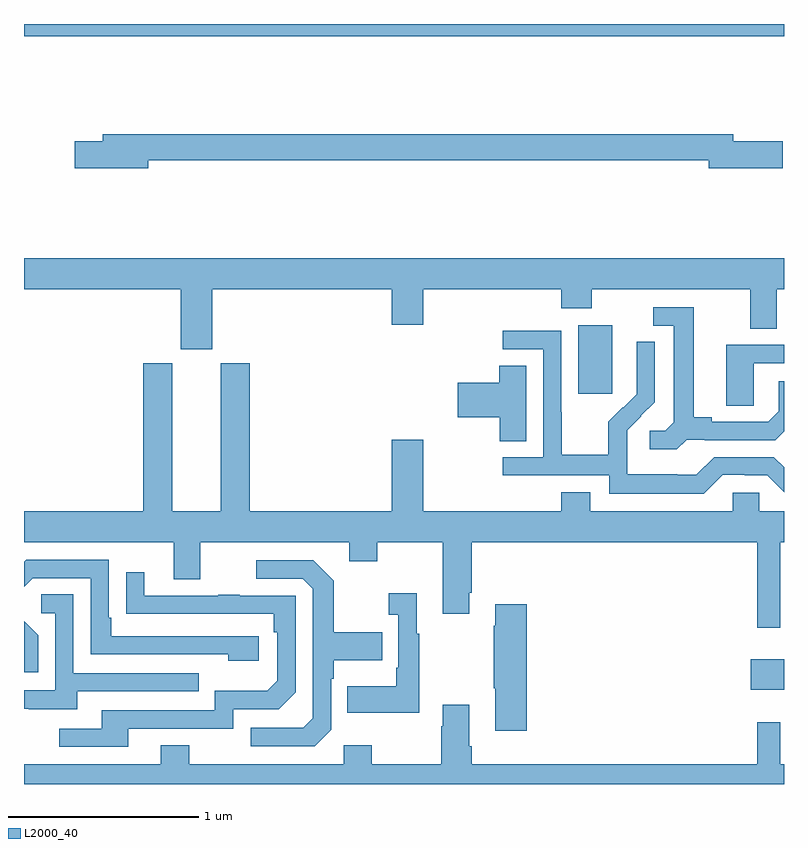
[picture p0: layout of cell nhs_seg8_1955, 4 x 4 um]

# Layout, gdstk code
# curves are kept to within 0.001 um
import gdstk
lib = gdstk.Library(unit=1e-6, precision=1e-09)
def R(c, l, rs):  # rectangles x0, y0, x1, y1
    for r in rs: c.add(gdstk.rectangle(r[:2], r[2:], *l))
def P(c, l, *ps):  # polygons
    for p in ps: c.add(gdstk.Polygon(p, *l))
L2000_40 = (2000, 40)

nhs_seg8_1955 = lib.new_cell('nhs_seg8_1955')
R(nhs_seg8_1955, L2000_40, [(238.826,1110.395,239,1110.556), (237.917,1111.953,238.096,1112.314), (235,1113.836,239,1113.9)])
P(nhs_seg8_1955, L2000_40, [(235.654,1113.184),(238.604,1113.184),(238.604,1113.142),(238.993,1113.142),(238.993,1113.284),(238.732,1113.284),(238.732,1113.32),(235.415,1113.32),(235.415,1113.284),(235.266,1113.284),(235.266,1113.142),(235.654,1113.142)],
  [(235.99,1112.504),(236.936,1112.504),(236.936,1112.316),(237.1,1112.316),(237.1,1112.504),(237.827,1112.504),(237.827,1112.405),(237.987,1112.405),(237.987,1112.504),(238.823,1112.504),(238.823,1112.296),(238.963,1112.296),(238.963,1112.504),(239,1112.504),(239,1112.668),(235,1112.668),(235,1112.504),(235.826,1112.504),(235.826,1112.187),(235.99,1112.187)],
  [(238.488,1111.713),(238.582,1111.713),(238.582,1111.71),(238.954,1111.71),(239,1111.756),(239,1112.02),(238.973,1112.02),(238.973,1111.863),(238.916,1111.806),(238.621,1111.806),(238.621,1111.829),(238.525,1111.829),(238.525,1112.409),(238.311,1112.409),(238.311,1112.313),(238.421,1112.313),(238.421,1111.805),(238.374,1111.758),(238.293,1111.758),(238.293,1111.661),(238.436,1111.661)],
  [(238.677,1111.527),(238.793,1111.527),(238.793,1111.524),(238.911,1111.524),(239,1111.435),(239,1111.567),(238.947,1111.62),(238.632,1111.62),(238.539,1111.527),(238.439,1111.527),(238.439,1111.531),(238.176,1111.531),(238.176,1111.665),(238.174,1111.665),(238.174,1111.762),(238.32,1111.91),(238.32,1112.228),(238.224,1112.228),(238.224,1112.074),(238.226,1112.074),(238.226,1111.952),(238.155,1111.881),(238.152,1111.884),(238.075,1111.807),(238.075,1111.633),(237.831,1111.633),(237.831,1111.856),(237.828,1111.856),(237.828,1112.286),(237.519,1112.286),(237.519,1112.187),(237.732,1112.187),(237.732,1111.62),(237.519,1111.62),(237.519,1111.524),(238.08,1111.524),(238.08,1111.427),(238.577,1111.427)],
  [(238.842,1112.115),(239,1112.115),(239,1112.211),(238.697,1112.211),(238.697,1111.891),(238.842,1111.891)],
  [(238.86,1110.723),(238.981,1110.723),(238.981,1111.172),(239,1111.172),(239,1111.336),(238.869,1111.336),(238.869,1111.434),(238.731,1111.434),(238.731,1111.336),(237.979,1111.336),(237.979,1111.435),(237.827,1111.435),(237.827,1111.336),(237.1,1111.336),(237.1,1111.711),(236.936,1111.711),(236.936,1111.336),(236.189,1111.336),(236.189,1112.115),(236.036,1112.115),(236.036,1111.336),(235.78,1111.336),(235.78,1112.115),(235.628,1112.115),(235.628,1111.336),(235,1111.336),(235,1111.172),(235.787,1111.172),(235.787,1110.978),(235.927,1110.978),(235.927,1111.172),(236.711,1111.172),(236.711,1111.073),(236.859,1111.073),(236.859,1111.172),(237.203,1111.172),(237.203,1110.795),(237.343,1110.795),(237.343,1110.907),(237.356,1110.907),(237.356,1111.172),(238.86,1111.172)],
  [(237.643,1112.102),(237.5,1112.102),(237.5,1112.012),(237.282,1112.012),(237.282,1111.829),(237.505,1111.829),(237.505,1111.705),(237.643,1111.705)],
  [(236.236,1110.678),(235.459,1110.678),(235.459,1110.775),(235.446,1110.775),(235.446,1111.08),(235.011,1111.08),(235,1111.069),(235,1110.937),(235.047,1110.984),(235.35,1110.984),(235.35,1110.582),(236.075,1110.582),(236.075,1110.548),(236.236,1110.548)],
  [(236.616,1110.186),(236.616,1110.455),(236.629,1110.455),(236.629,1110.551),(236.885,1110.551),(236.885,1110.699),(236.629,1110.699),(236.629,1110.971),(236.523,1111.077),(236.223,1111.077),(236.223,1110.981),(236.466,1110.981),(236.52,1110.927),(236.52,1110.246),(236.469,1110.195),(236.193,1110.195),(236.193,1110.099),(236.529,1110.099)],
  [(235.549,1110.192),(236.1,1110.192),(236.1,1110.294),(236.34,1110.294),(236.43,1110.384),(236.43,1110.891),(236.135,1110.891),(236.135,1110.896),(236.023,1110.896),(236.023,1110.891),(235.633,1110.891),(235.633,1111.015),(235.537,1111.015),(235.537,1110.796),(236.314,1110.795),(236.314,1110.698),(236.334,1110.698),(236.334,1110.444),(236.281,1110.391),(236.004,1110.391),(236.004,1110.288),(235.409,1110.288),(235.409,1110.192),(235.185,1110.192),(235.185,1110.096),(235.549,1110.096)],
  [(237.079,1110.691),(237.067,1110.691),(237.067,1110.904),(236.919,1110.904),(236.919,1110.791),(236.97,1110.791),(236.97,1110.511),(236.958,1110.511),(236.958,1110.415),(236.701,1110.415),(236.701,1110.275),(237.079,1110.275)],
  [(235.279,1110.387),(235.919,1110.387),(235.919,1110.483),(235.26,1110.483),(235.26,1110.899),(235.092,1110.899),(235.092,1110.798),(235.164,1110.798),(235.164,1110.393),(235,1110.393),(235,1110.297),(235.025,1110.297),(235.025,1110.293),(235.279,1110.293)],
  [(237.647,1110.847),(237.479,1110.847),(237.479,1110.734),(237.472,1110.734),(237.472,1110.403),(237.479,1110.403),(237.479,1110.18),(237.647,1110.18)],
  [(235.074,1110.682),(235,1110.756),(235,1110.489),(235.074,1110.489)],
  [(239,1110.004),(238.981,1110.004),(238.981,1110.226),(238.86,1110.226),(238.86,1110.004),(237.356,1110.004),(237.356,1110.1),(237.343,1110.1),(237.343,1110.316),(237.203,1110.316),(237.203,1110.203),(237.196,1110.203),(237.196,1110.004),(236.829,1110.004),(236.829,1110.103),(236.682,1110.103),(236.682,1110.004),(235.869,1110.004),(235.869,1110.103),(235.721,1110.103),(235.721,1110.004),(235,1110.004),(235,1109.9),(239,1109.9)])

lib.write_gds('nhs_seg8_1955.gds')
